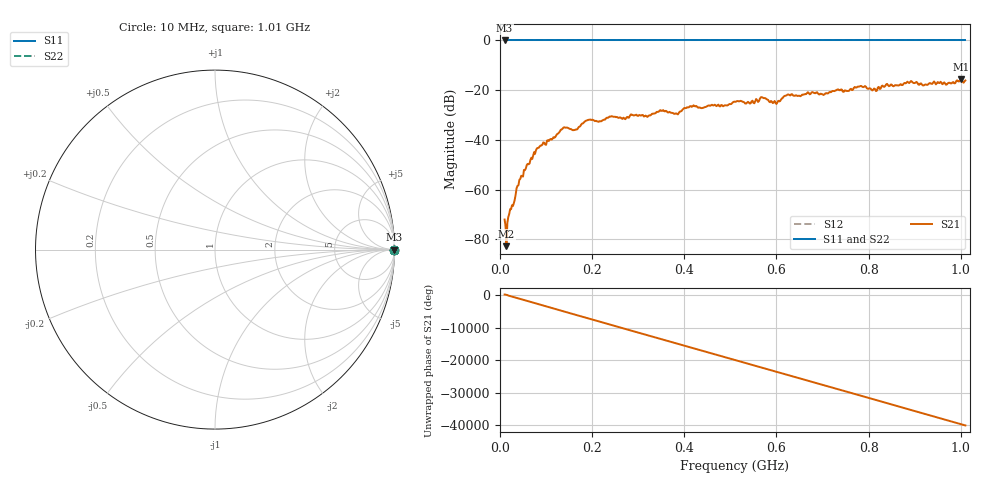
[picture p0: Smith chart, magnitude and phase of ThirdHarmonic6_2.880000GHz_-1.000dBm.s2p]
! 8/17/2025 7:53:57 AM
! C:\ANRITSUVNA\TEMP\TEMP.S2P
! CHANNEL.1
! TR.MEASUREMENT
! RAW.DATA
! RF.CORRECTION.OFF
! AVERAGING.OFF
! IF.BANDWIDTH: 5KHZ
! SWEEPTYPE:  FREQ.SWEEP(Linear)
! Reference Plane Port Info
! PORT:  PORT1  PORT2
! DISTANCE:  0  m  0  m
! TIME:  0  s  0  s
! PHASE.OFFSET:  0  deg.  0  deg.
! LOSS:  0  dB  0  dB
! REF.LOSS:  0  dB  0  dB
! REF.FREQ:  0  Hz  0  Hz
! Power Info
! POWER:  -20  dBm  -20  dBm
! EFF.POWER:  -20  dBm  -20  dBm
! SOURCE.ATTEN:  0  dB  0  dB
! TEST.ATTEN:  0  dB  0  dB
# GHZ S RI R 50.0
! FREQ.GHZ  S11RE  S11IM  S21RE  S21IM  S12RE  S12IM  S22RE  S22IM
!; PortSelection: Port_12
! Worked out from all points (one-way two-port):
!   501 points, 10 MHz to 1.01 GHz, reference 50 ohm
!   highest |S21| = -15.65 dB at 1 GHz (marker M1); lowest = -82.7 dB at 14 MHz (marker M2)
!   lowest |S11| = 0.0 dB at 10 MHz (marker M3)
!   |S11| at or under -10 dB: nowhere
!   |S22| runs from 0.0 to 0.0 dB; largest |S21 - S12| = 1.2
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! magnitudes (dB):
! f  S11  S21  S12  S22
! 10 MHz  0.0  -72.0  0.0  0.0
! 14 MHz  0.0  -82.7  0.0  0.0
! 42 MHz  0.0  -56.0  0.0  0.0
! 78 MHz  0.0  -44.2  0.0  0.0
! 136 MHz  0.0  -35.5  0.0  0.0
! 164 MHz  0.0  -35.8  0.0  0.0
! 178 MHz  0.0  -33.5  0.0  0.0
! 192 MHz  0.0  -31.9  0.0  0.0
! 344 MHz  0.0  -28.7  0.0  0.0
! 382 MHz  0.0  -29.3  0.0  0.0
! 416 MHz  0.0  -26.7  0.0  0.0
! 510 MHz  0.0  -24.7  0.0  0.0
! 548 MHz  0.0  -24.2  0.0  0.0
! 570 MHz  0.0  -23.0  0.0  0.0
! 596 MHz  0.0  -24.4  0.0  0.0
! 622 MHz  0.0  -22.1  0.0  0.0
! 678 MHz  0.0  -20.8  0.0  0.0
! 780 MHz  0.0  -18.5  0.0  0.0
! 814 MHz  0.0  -19.6  0.0  0.0
! 844 MHz  0.0  -18.4  0.0  0.0
! 1 GHz  0.0  -15.6  0.0  0.0
! 1.01 GHz  0.0  -16.1  0.0  0.0
